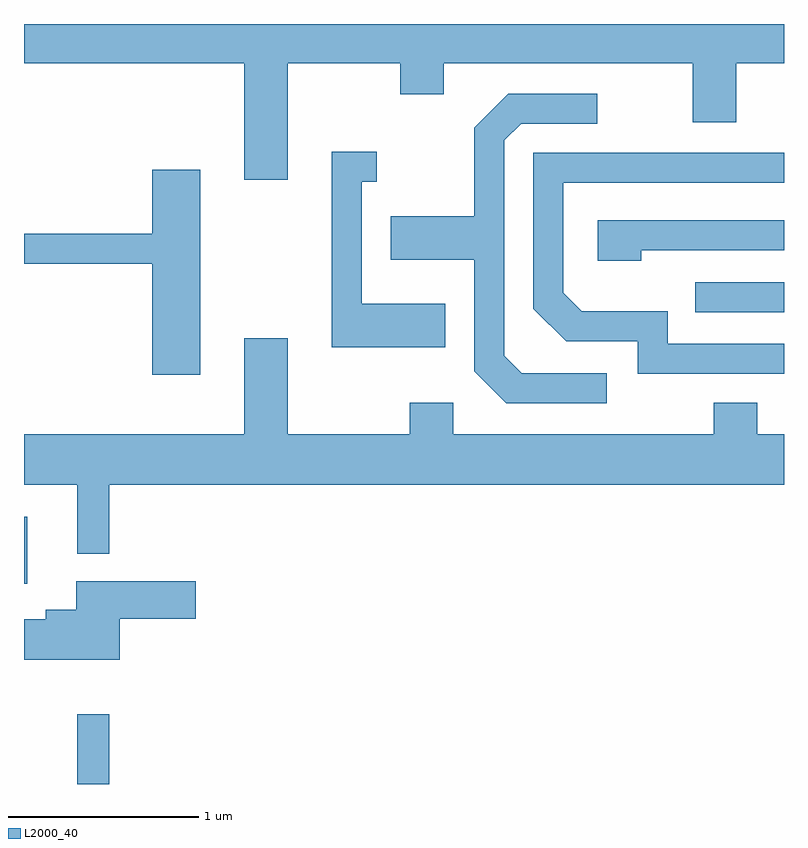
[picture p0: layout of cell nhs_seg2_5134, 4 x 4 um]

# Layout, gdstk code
import gdstk
lib = gdstk.Library(unit=1e-6, precision=1e-09)
def R(c, l, rs):  # rectangles x0, y0, x1, y1
    for r in rs: c.add(gdstk.rectangle(r[:2], r[2:], *l))
def P(c, l, *ps):  # polygons
    for p in ps: c.add(gdstk.Polygon(p, *l))
L2000_40 = (2000, 40)

nhs_seg2_5134 = lib.new_cell('nhs_seg2_5134')
R(nhs_seg2_5134, L2000_40, [(335.891,1097.802,336.059,1098.168), (335.611,1098.856,335.629,1099.209), (339.143,1100.286,339.611,1100.444)])
P(nhs_seg2_5134, L2000_40, [(336.999,1101.596),(337.591,1101.596),(337.591,1101.431),(337.819,1101.431),(337.819,1101.596),(339.131,1101.596),(339.131,1101.286),(339.359,1101.286),(339.359,1101.596),(339.611,1101.596),(339.611,1101.802),(335.611,1101.802),(335.611,1101.596),(336.771,1101.596),(336.771,1100.981),(336.999,1100.981)],
  [(338.678,1099.964),(338.232,1099.964),(338.139,1100.057),(338.139,1101.189),(338.227,1101.276),(338.628,1101.276),(338.628,1101.434),(338.159,1101.434),(337.981,1101.257),(337.981,1100.789),(337.541,1100.789),(337.541,1100.561),(337.981,1100.561),(337.981,1099.974),(338.149,1099.806),(338.678,1099.806)],
  [(337.829,1100.329),(337.389,1100.329),(337.389,1100.971),(337.468,1100.971),(337.468,1101.129),(337.231,1101.129),(337.231,1100.101),(337.829,1100.101)],
  [(339.611,1100.119),(338.999,1100.119),(338.999,1100.289),(338.547,1100.289),(338.449,1100.387),(338.449,1100.966),(339.611,1100.966),(339.611,1101.124),(338.291,1101.124),(338.291,1100.304),(338.464,1100.131),(338.841,1100.131),(338.841,1099.961),(339.611,1099.961)],
  [(336.539,1101.034),(336.286,1101.034),(336.286,1100.699),(335.611,1100.699),(335.611,1100.541),(336.286,1100.541),(336.286,1099.956),(336.539,1099.956)],
  [(338.859,1100.611),(339.611,1100.611),(339.611,1100.769),(338.631,1100.769),(338.631,1100.556),(338.859,1100.556)],
  [(336.059,1099.376),(339.611,1099.376),(339.611,1099.644),(339.469,1099.644),(339.469,1099.809),(339.241,1099.809),(339.241,1099.644),(337.869,1099.644),(337.869,1099.809),(337.641,1099.809),(337.641,1099.644),(336.999,1099.644),(336.999,1100.149),(336.771,1100.149),(336.771,1099.644),(335.611,1099.644),(335.611,1099.376),(335.891,1099.376),(335.891,1099.013),(336.059,1099.013)],
  [(336.114,1098.671),(336.514,1098.671),(336.514,1098.869),(335.886,1098.869),(335.886,1098.719),(335.726,1098.719),(335.726,1098.669),(335.611,1098.669),(335.611,1098.456),(336.114,1098.456)])

lib.write_gds('nhs_seg2_5134.gds')
